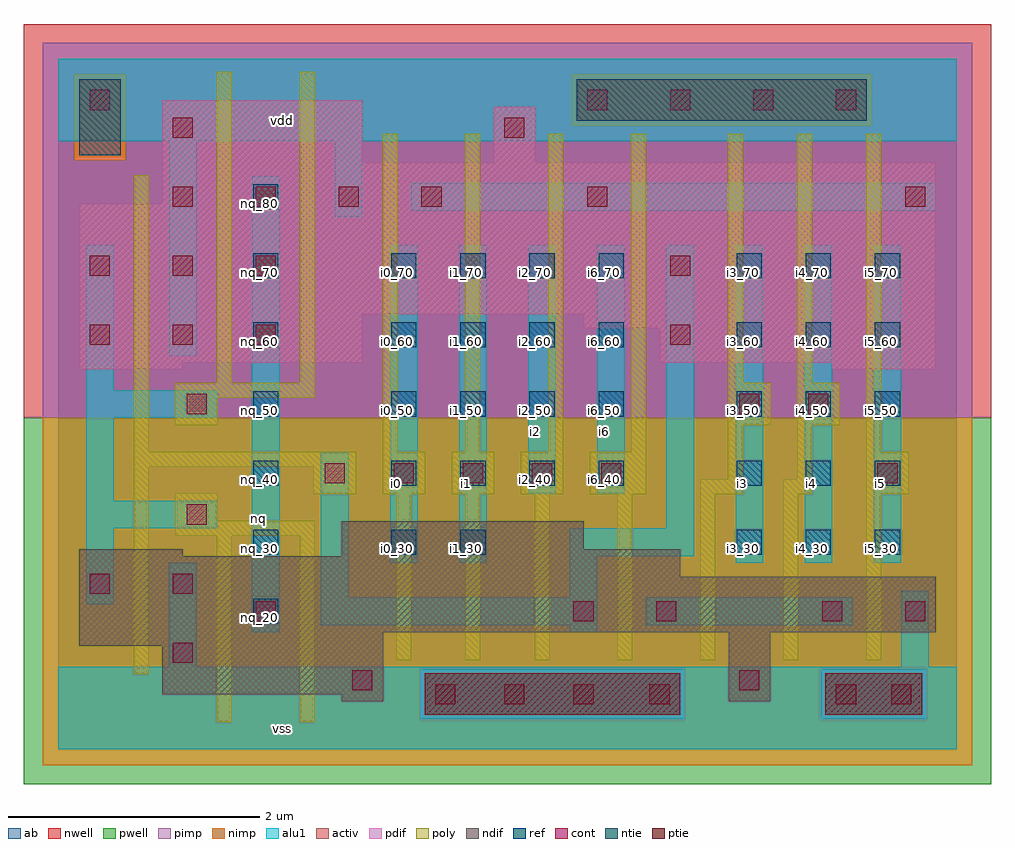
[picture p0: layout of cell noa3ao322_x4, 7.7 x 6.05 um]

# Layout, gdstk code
import gdstk
lib = gdstk.Library(unit=1e-6, precision=2.5e-09)
def R(c, l, rs):  # rectangles x0, y0, x1, y1
    for r in rs: c.add(gdstk.rectangle(r[:2], r[2:], *l))
def A(c, l, x, y, w, h, nx, ny, dx, dy):  # array of equal rectangles
    R(c, l, [(x+i*dx, y+j*dy, x+i*dx+w, y+j*dy+h) for i in range(nx) for j in range(ny)])
ndif = (3, 0)
pdif = (4, 0)
ntie = (5, 0)
ptie = (6, 0)
ref = (24, 0)
cont = (25, 0)
pwell = (41, 0)
nwell = (42, 0)
activ = (43, 0)
pimp = (44, 0)
nimp = (45, 0)
poly = (46, 0)
alu1 = (49, 0)
ab = (63, 0)

noa3ao322_x4 = lib.new_cell('noa3ao322_x4')
R(noa3ao322_x4, ndif, [(2.255,0.385,2.585,0.44), (5.335,0.385,5.665,0.935), (0.825,0.44,2.585,0.825), (0.165,0.825,2.585,0.935), (0.165,0.935,6.985,1.375), (0.165,1.375,4.95,1.54), (0.165,1.54,0.99,1.595), (2.255,1.54,4.95,1.595), (2.255,1.595,4.18,1.815)])
R(noa3ao322_x4, pdif, [(0.165,3.025,0.99,3.08), (6.16,3.025,6.985,3.08), (0.165,3.08,2.42,3.465), (4.785,3.08,6.985,3.355), (4.18,3.355,6.985,3.465), (0.165,3.465,6.985,4.345), (0.825,4.345,6.985,4.675), (0.825,4.675,2.42,5.17), (3.465,4.675,3.795,5.115)])
R(noa3ao322_x4, ntie, [(0.165,4.73,0.495,5.335), (4.125,5.005,6.435,5.335)])
R(noa3ao322_x4, ptie, [(2.915,0.275,4.95,0.605), (6.105,0.275,6.875,0.605)])
A(noa3ao322_x4, ref, 1.55, 1, 0.2, 0.2, 1, 7, 0, 0.55)
A(noa3ao322_x4, ref, 5.4, 1.55, 0.2, 0.2, 3, 5, 0.55, 0.55)
A(noa3ao322_x4, ref, 2.65, 2.1, 0.2, 0.2, 4, 4, 0.55, 0.55)
R(noa3ao322_x4, ref, [(2.65,1.55,2.85,1.75), (3.2,1.55,3.4,1.75)])
A(noa3ao322_x4, cont, 3, 0.36, 0.16, 0.16, 3, 1, 0.55, 0)
A(noa3ao322_x4, cont, 2.12, 2.12, 0.16, 0.16, 5, 1, 0.55, 0)
A(noa3ao322_x4, cont, 0.25, 3.22, 0.16, 0.16, 3, 2, 0.66, 0.55)
A(noa3ao322_x4, cont, 0.91, 4.32, 0.16, 0.16, 4, 1, 0.66, 0)
A(noa3ao322_x4, cont, 4.21, 5.09, 0.16, 0.16, 4, 1, 0.66, 0)
R(noa3ao322_x4, cont, [(4.705,0.36,4.865,0.52), (6.19,0.36,6.35,0.52), (6.63,0.36,6.79,0.52), (2.34,0.47,2.5,0.63), (5.42,0.47,5.58,0.63), (0.91,0.69,1.07,0.85), (1.57,1.02,1.73,1.18), (4.1,1.02,4.26,1.18), (4.76,1.02,4.92,1.18), (6.08,1.02,6.24,1.18), (6.74,1.02,6.9,1.18), (0.25,1.24,0.41,1.4), (0.91,1.24,1.07,1.4), (1.02,1.79,1.18,1.95), (6.52,2.12,6.68,2.28), (1.02,2.67,1.18,2.83), (5.42,2.67,5.58,2.83), (5.97,2.67,6.13,2.83), (4.87,3.22,5.03,3.38), (4.87,3.77,5.03,3.93), (4.21,4.32,4.37,4.48), (6.74,4.32,6.9,4.48), (0.91,4.87,1.07,5.03), (3.55,4.87,3.71,5.03), (0.25,5.09,0.41,5.25)])
R(noa3ao322_x4, pwell, [(-0.275,-0.275,7.425,2.64)])
R(noa3ao322_x4, nwell, [(-0.275,2.64,7.425,5.775)])
R(noa3ao322_x4, activ, [(2.915,0.275,4.95,0.605), (6.105,0.275,6.875,0.605), (2.255,0.385,2.585,0.44), (5.335,0.385,5.665,0.935), (0.825,0.44,2.585,0.825), (0.165,0.825,2.585,0.935), (0.165,0.935,6.985,1.375), (0.165,1.375,4.95,1.54), (0.165,1.54,0.99,1.595), (2.255,1.54,4.95,1.595), (2.255,1.595,4.18,1.815), (0.165,3.025,0.99,3.08), (6.16,3.025,6.985,3.08), (0.165,3.08,2.42,3.465), (4.785,3.08,6.985,3.355), (4.18,3.355,6.985,3.465), (0.165,3.465,6.985,4.345), (0.825,4.345,6.985,4.675), (0.825,4.675,2.42,5.17), (3.465,4.675,3.795,5.115), (0.165,4.73,0.495,5.335), (4.125,5.005,6.435,5.335)])
R(noa3ao322_x4, pimp, [(2.875,0.235,4.99,0.645), (6.065,0.235,6.915,0.645), (-0.125,2.64,7.275,4.69), (-0.125,4.69,0.125,5.375), (0.535,4.69,7.275,4.965), (0.535,4.965,4.085,5.375), (6.475,4.965,7.275,5.375), (-0.125,5.375,7.275,5.625)])
R(noa3ao322_x4, nimp, [(-0.125,-0.125,7.275,0.235), (-0.125,0.235,2.875,0.645), (4.99,0.235,6.065,0.645), (6.915,0.235,7.275,0.645), (-0.125,0.645,7.275,2.64), (0.125,4.69,0.535,5.375), (4.085,4.965,6.475,5.375)])
A(noa3ao322_x4, poly, 2.69, 0.71, 0.12, 1.32, 3, 1, 0.55, 0)
A(noa3ao322_x4, poly, 4.45, 0.71, 0.12, 1.32, 4, 1, 0.66, 0)
A(noa3ao322_x4, poly, 2.58, 2.03, 0.34, 0.34, 3, 1, 0.55, 0)
A(noa3ao322_x4, poly, 2.58, 2.37, 0.12, 2.53, 4, 1, 0.66, 0)
R(noa3ao322_x4, poly, [(1.26,0.215,1.38,1.7), (1.92,0.215,2.04,1.7), (0.6,0.6,0.72,2.25), (0.93,1.7,2.04,1.82), (0.93,1.82,1.27,2.04), (2.03,2.03,2.37,2.25), (4.23,2.03,4.68,2.37), (5.11,2.03,5.45,2.15), (5.77,2.03,6,2.15), (6.43,2.03,6.77,2.37), (5.33,2.15,5.45,2.58), (5.88,2.15,6,2.58), (0.6,2.25,2.37,2.37), (0.6,2.37,0.72,4.57), (6.43,2.37,6.55,4.9), (0.93,2.58,1.27,2.8), (5.33,2.58,5.67,2.92), (5.88,2.58,6.22,2.92), (0.93,2.8,2.04,2.92), (1.26,2.92,1.38,5.395), (1.92,2.92,2.04,5.395), (5.33,2.92,5.45,4.9), (5.88,2.92,6,4.9)])
A(noa3ao322_x4, alu1, 5.39, 1.485, 0.22, 2.53, 3, 1, 0.55, 0)
R(noa3ao322_x4, alu1, [(0,0,7.15,0.66), (0.88,0.66,1.1,1.485), (6.71,0.66,6.93,1.265), (1.54,0.935,1.76,4.565), (4.07,0.935,4.29,0.99), (2.09,0.99,4.29,1.21), (4.675,0.99,6.325,1.21), (0.22,1.155,0.44,1.76), (2.09,1.21,2.31,2.365), (4.07,1.21,4.29,1.54), (2.64,1.485,2.86,4.015), (3.19,1.485,3.41,4.015), (4.07,1.54,5.06,1.76), (0.22,1.76,1.265,1.98), (4.84,1.76,5.06,4.015), (0.22,1.98,0.44,2.64), (3.74,2.035,3.96,4.015), (4.29,2.035,4.51,4.015), (0.22,2.64,1.265,2.86), (0.22,2.86,0.44,4.015), (0.88,3.135,1.1,4.84), (2.2,4.235,2.42,4.84), (2.805,4.29,6.985,4.51), (0,4.84,7.15,5.5)])
R(noa3ao322_x4, ab, [(0,0,7.15,5.5)])
noa3ao322_x4.add(gdstk.Label('vss', (1.7875,0.165), layer=49, texttype=0))
noa3ao322_x4.add(gdstk.Label('i5', (6.545,2.1175), layer=49, texttype=0))
noa3ao322_x4.add(gdstk.Label('i4', (5.995,2.1175), layer=49, texttype=0))
noa3ao322_x4.add(gdstk.Label('i3', (5.445,2.1175), layer=49, texttype=0))
noa3ao322_x4.add(gdstk.Label('i6', (4.345,2.53), layer=49, texttype=0))
noa3ao322_x4.add(gdstk.Label('i2', (3.795,2.53), layer=49, texttype=0))
noa3ao322_x4.add(gdstk.Label('i1', (3.245,2.1175), layer=49, texttype=0))
noa3ao322_x4.add(gdstk.Label('i0', (2.695,2.1175), layer=49, texttype=0))
noa3ao322_x4.add(gdstk.Label('nq', (1.595,1.8425), layer=49, texttype=0))
noa3ao322_x4.add(gdstk.Label('vdd', (1.7875,5.005), layer=49, texttype=0))
noa3ao322_x4.add(gdstk.Label('nq_60', (1.6,3.25), layer=24, texttype=0))
noa3ao322_x4.add(gdstk.Label('nq_50', (1.6,2.7), layer=24, texttype=0))
noa3ao322_x4.add(gdstk.Label('nq_40', (1.6,2.15), layer=24, texttype=0))
noa3ao322_x4.add(gdstk.Label('nq_30', (1.6,1.6), layer=24, texttype=0))
noa3ao322_x4.add(gdstk.Label('nq_20', (1.6,1.05), layer=24, texttype=0))
noa3ao322_x4.add(gdstk.Label('nq_80', (1.6,4.35), layer=24, texttype=0))
noa3ao322_x4.add(gdstk.Label('i0_70', (2.7,3.8), layer=24, texttype=0))
noa3ao322_x4.add(gdstk.Label('i3_70', (5.45,3.8), layer=24, texttype=0))
noa3ao322_x4.add(gdstk.Label('i5_50', (6.55,2.7), layer=24, texttype=0))
noa3ao322_x4.add(gdstk.Label('i5_60', (6.55,3.25), layer=24, texttype=0))
noa3ao322_x4.add(gdstk.Label('i5_70', (6.55,3.8), layer=24, texttype=0))
noa3ao322_x4.add(gdstk.Label('i0_30', (2.7,1.6), layer=24, texttype=0))
noa3ao322_x4.add(gdstk.Label('i0_40', (2.7,2.15), layer=24, texttype=0))
noa3ao322_x4.add(gdstk.Label('i0_50', (2.7,2.7), layer=24, texttype=0))
noa3ao322_x4.add(gdstk.Label('i0_60', (2.7,3.25), layer=24, texttype=0))
noa3ao322_x4.add(gdstk.Label('i3_60', (5.45,3.25), layer=24, texttype=0))
noa3ao322_x4.add(gdstk.Label('i4_30', (6,1.6), layer=24, texttype=0))
noa3ao322_x4.add(gdstk.Label('i4_40', (6,2.15), layer=24, texttype=0))
noa3ao322_x4.add(gdstk.Label('i4_50', (6,2.7), layer=24, texttype=0))
noa3ao322_x4.add(gdstk.Label('i4_60', (6,3.25), layer=24, texttype=0))
noa3ao322_x4.add(gdstk.Label('i4_70', (6,3.8), layer=24, texttype=0))
noa3ao322_x4.add(gdstk.Label('i5_30', (6.55,1.6), layer=24, texttype=0))
noa3ao322_x4.add(gdstk.Label('i5_40', (6.55,2.15), layer=24, texttype=0))
noa3ao322_x4.add(gdstk.Label('i3_30', (5.45,1.6), layer=24, texttype=0))
noa3ao322_x4.add(gdstk.Label('i3_40', (5.45,2.15), layer=24, texttype=0))
noa3ao322_x4.add(gdstk.Label('i3_50', (5.45,2.7), layer=24, texttype=0))
noa3ao322_x4.add(gdstk.Label('i2_50', (3.8,2.7), layer=24, texttype=0))
noa3ao322_x4.add(gdstk.Label('i2_60', (3.8,3.25), layer=24, texttype=0))
noa3ao322_x4.add(gdstk.Label('i2_70', (3.8,3.8), layer=24, texttype=0))
noa3ao322_x4.add(gdstk.Label('i6_40', (4.35,2.15), layer=24, texttype=0))
noa3ao322_x4.add(gdstk.Label('i6_50', (4.35,2.7), layer=24, texttype=0))
noa3ao322_x4.add(gdstk.Label('i6_60', (4.35,3.25), layer=24, texttype=0))
noa3ao322_x4.add(gdstk.Label('i6_70', (4.35,3.8), layer=24, texttype=0))
noa3ao322_x4.add(gdstk.Label('i1_30', (3.25,1.6), layer=24, texttype=0))
noa3ao322_x4.add(gdstk.Label('i1_40', (3.25,2.15), layer=24, texttype=0))
noa3ao322_x4.add(gdstk.Label('i1_50', (3.25,2.7), layer=24, texttype=0))
noa3ao322_x4.add(gdstk.Label('i1_60', (3.25,3.25), layer=24, texttype=0))
noa3ao322_x4.add(gdstk.Label('i1_70', (3.25,3.8), layer=24, texttype=0))
noa3ao322_x4.add(gdstk.Label('nq_70', (1.6,3.8), layer=24, texttype=0))
noa3ao322_x4.add(gdstk.Label('i2_40', (3.8,2.15), layer=24, texttype=0))

lib.write_gds('noa3ao322_x4.gds')
